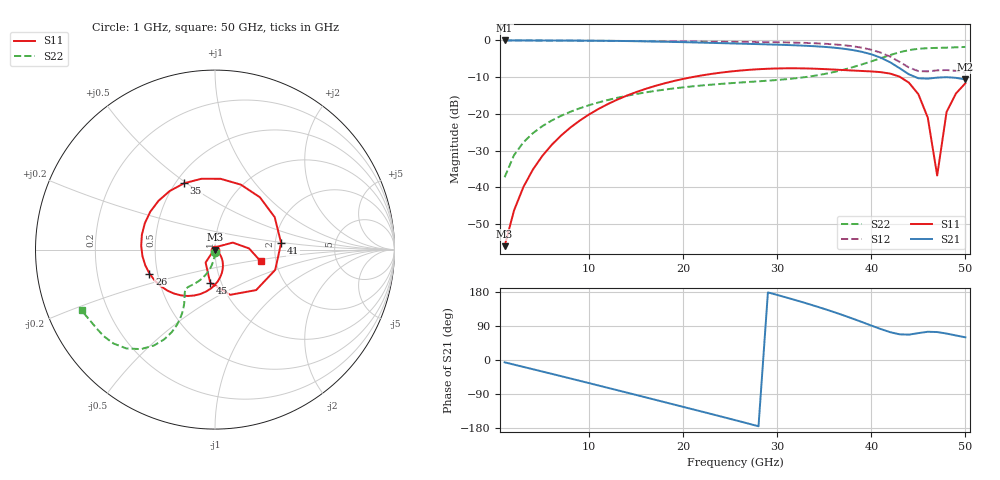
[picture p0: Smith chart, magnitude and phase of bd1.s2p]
! Impedora 0.10.0 via model, case bd1 (fullwave/cases.json), 2026-11-19
! Backdrilled via: as the first blind via, with 0.2 mm of barrel left below the stripline: with its pads and traces, ports at the far end of each trace, after the 3D port calibration.
! Ports: 1 = upper end, 2 = lower end, 50 ohm.
! Compared with the edge 3D mesh.
# Hz S RI R 50
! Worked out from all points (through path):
!   50 points, 1 GHz to 50 GHz, reference 50 ohm
!   highest |S21| = 0.00 dB at 1 GHz (marker M1); lowest = -10.6 dB at 50 GHz (marker M2)
!   group delay of S21, straight-line fit = 17.9 ps
!   lowest |S11| = -56.0 dB at 1 GHz (marker M3), VSWR 1.00, Z = 50.1 - j0.127 ohm
!   |S11| at or under -10 dB: start of sweep to 20.92 GHz; 43.09 GHz to end of sweep
!   |S22| runs from -37.3 to -1.8 dB; largest |S21 - S12| = 1.5
!   S11 on the Smith chart (normalised r, x): 1 GHz: 1.00, -0.00; 26 GHz: 0.45, -0.14; 35 GHz: 0.55, +0.49; 41 GHz: 2.16, +0.19; 45 GHz: 0.89, -0.34; 50 GHz: 1.66, -0.23
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1e9  0.000941 -0.00127  0.9944 -0.1056  0.9989 -0.0455  -0.000432 -0.0137
2e9  0.0037 -0.00312  0.9776 -0.2101  0.9954 -0.0909  -0.00173 -0.0274
4e9  0.0137 -0.0107  0.9111 -0.4111  0.9818 -0.1808  -0.00686 -0.0541
7e9  0.0335 -0.038  0.7342 -0.6758  0.945 -0.3118  -0.0205 -0.0919
1e10  0.0444 -0.088  0.4795 -0.8702  0.8896 -0.4358  -0.0402 -0.1253
1.4e10  0.0155 -0.1767  0.0672 -0.979  0.7891 -0.5863  -0.0725 -0.1609
1.8e10  -0.0817 -0.2475  -0.3468 -0.8958  0.6611 -0.7164  -0.1068 -0.1857
2.2e10  -0.228 -0.245  -0.6756 -0.6446  0.507 -0.8227  -0.1372 -0.2018
2.6e10  -0.3651 -0.1335  -0.8601 -0.2821  0.3254 -0.9004  -0.1585 -0.2149
3e10  -0.4074 0.0827  -0.8662 0.1277  0.1115 -0.9378  -0.1679 -0.2362
3.4e10  -0.2515 0.327  -0.6629 0.5063  -0.1373 -0.905  -0.1703 -0.2843
3.5e10  -0.1716 0.3697  -0.5763 0.5807  -0.2032 -0.8793  -0.1722 -0.3036
3.8e10  0.1442 0.3619  -0.2453 0.6992  -0.3909 -0.7375  -0.1946 -0.3855
4.1e10  0.3683 0.0374  0.0841 0.5762  -0.4849 -0.4805  -0.2824 -0.4997
4.2e10  0.3354 -0.1131  0.1437 0.4833  -0.4641 -0.3836  -0.3396 -0.5342
4.4e10  0.0849 -0.2519  0.1354 0.3182  -0.3362 -0.2648  -0.4927 -0.551
4.5e10  -0.0271 -0.1834  0.0996 0.2889  -0.2732 -0.2674  -0.5652 -0.5233
4.6e10  -0.0523 -0.0719  0.0806 0.291  -0.2437 -0.2906  -0.6197 -0.4824
4.7e10  0.00436 0.0138  0.0872 0.2994  -0.2438 -0.3061  -0.6579 -0.4413
4.8e10  0.099 0.039  0.1092 0.2967  -0.2551 -0.3024  -0.6879 -0.4051
4.9e10  0.1898 0.00647  0.1323 0.28  -0.2622 -0.2829  -0.7155 -0.3721
5e10  0.2537 -0.0644  0.1477 0.2544  -0.2584 -0.2565  -0.7428 -0.3392
